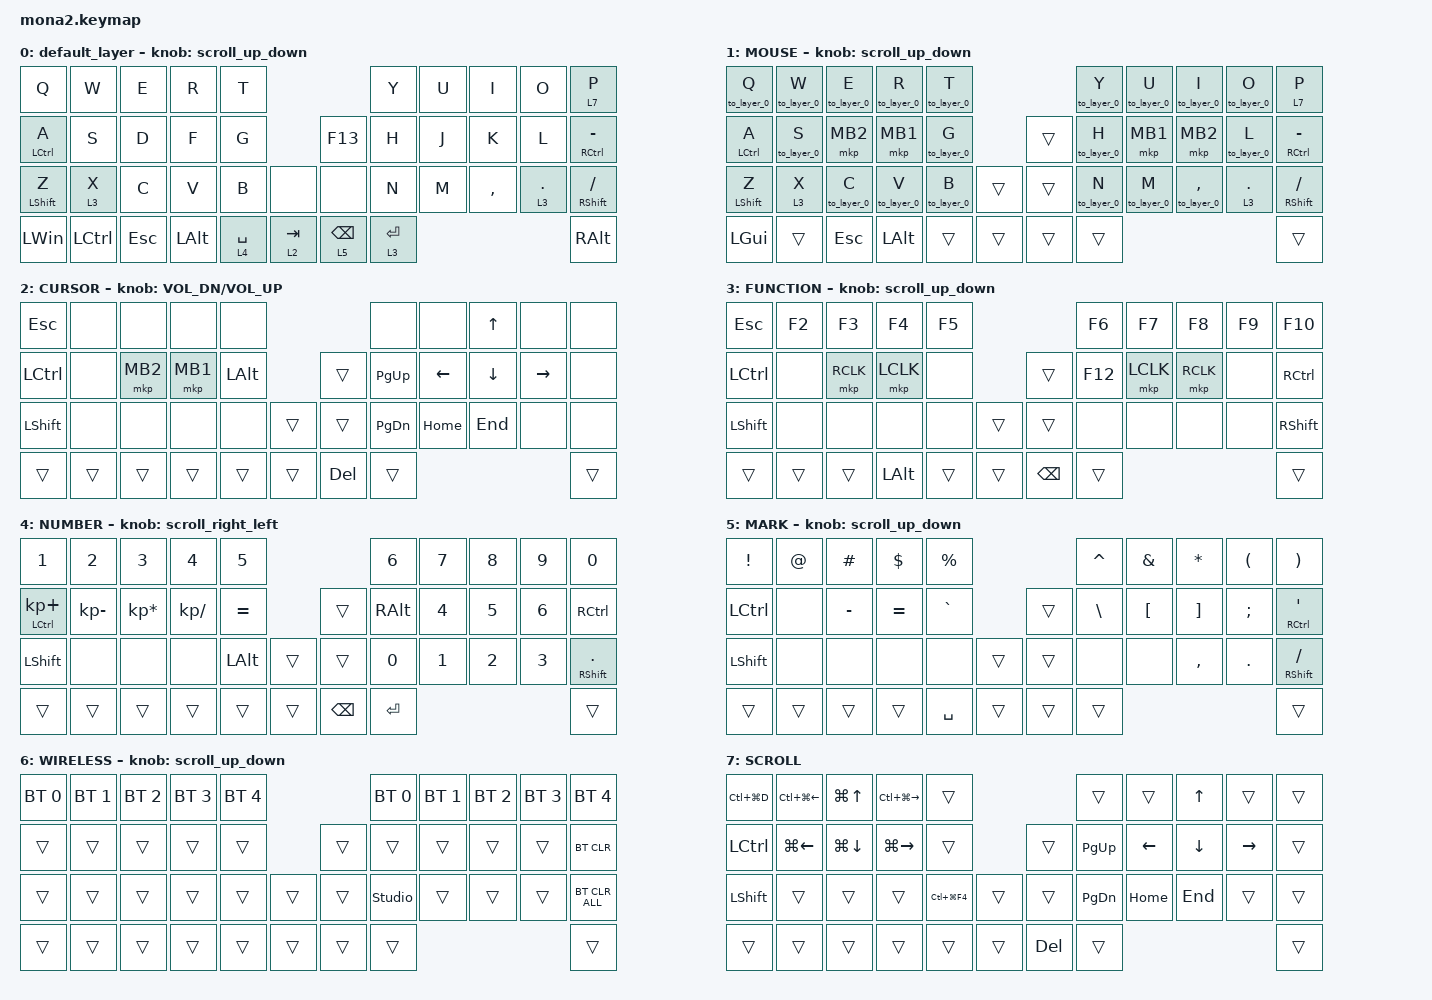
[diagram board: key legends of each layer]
#include <input/processors.dtsi>
#include <dt-bindings/zmk/input_transform.h>
#include <zephyr/dt-bindings/input/input-event-codes.h>
#include <behaviors.dtsi>
#include <dt-bindings/zmk/bt.h>
#include <dt-bindings/zmk/keys.h>
#include <dt-bindings/zmk/pointing.h>

#define ZMK_POINTING_DEFAULT_SCRL_VAL 100
#define MOUSE 5
#define SCROLL 6

&mt {
    flavor = "balanced";
    quick-tap-ms = <0>;
};

&lt {
    quick-tap-ms = <300>;
    flavor = "balanced";
};

/ {
    combos {
        compatible = "zmk,combos";

        lang1 {
            bindings = <&kp LANG1>;
            key-positions = <8 7>;
        };

        lang2 {
            bindings = <&kp LANG2>;
            key-positions = <1 2>;
        };

        bs {
            bindings = <&kp BACKSPACE>;
            key-positions = <8 9>;
        };
    };

    macros {
        to_layer_0: to_layer_0 {
            compatible = "zmk,behavior-macro-one-param";
            #binding-cells = <1>;
            bindings = <&to 0 &macro_param_1to1 &kp MACRO_PLACEHOLDER>;
            label = "TO_LAYER_0";
        };
    };

    behaviors {
        lt_to_layer_0: lt_to_layer_0 {
            compatible = "zmk,behavior-hold-tap";
            label = "LAYER_TAP_TO_0";
            bindings = <&mo>, <&to_layer_0>;

            #binding-cells = <2>;
            tapping-term-ms = <200>;
        };

        scroll_up_down: mouse_wheel_up_down {
            compatible = "zmk,behavior-sensor-rotate";
            #sensor-binding-cells = <0>;
            bindings = <&msc SCRL_DOWN>, <&msc SCRL_UP>;

            tap-ms = <20>;
        };

        scroll_right_left: mouse_wheel_right_left {
            compatible = "zmk,behavior-sensor-rotate";
            #sensor-binding-cells = <0>;
            bindings = <&msc SCRL_LEFT>, <&msc SCRL_RIGHT>;

            tap-ms = <20>;
        };
    };

    keymap {
        compatible = "zmk,keymap";

        default_layer {
            bindings = <
&kp Q               &kp W             &kp E       &kp R         &kp T                                                            &kp Y        &kp U  &kp I      &kp O         &lt 7 P
&mt LEFT_CONTROL A  &kp S             &kp D       &kp F         &kp G                                &kp F13                     &kp H        &kp J  &kp K      &kp L         &mt RIGHT_CONTROL MINUS
&mt LEFT_SHIFT Z    &lt 3 X           &kp C       &kp V         &kp B        &none                   &none                       &kp N        &kp M  &kp COMMA  &lt 3 PERIOD  &mt RIGHT_SHIFT SLASH
&kp LEFT_WIN        &kp LEFT_CONTROL  &kp ESCAPE  &kp LEFT_ALT  &lt 4 SPACE  &lt_to_layer_0 2 TAB    &lt_to_layer_0 5 BACKSPACE  &lt 3 ENTER                                  &kp RIGHT_ALT
            >;

            sensor-bindings = <&scroll_up_down>;
        };

        MOUSE {
            bindings = <
&to_layer_0 Q       &to_layer_0 W  &to_layer_0 E  &to_layer_0 R  &to_layer_0 T                    &to_layer_0 Y  &to_layer_0 U  &to_layer_0 I      &to_layer_0 O  &lt 7 P
&mt LEFT_CONTROL A  &to_layer_0 S  &mkp MB2       &mkp MB1       &to_layer_0 G            &trans  &to_layer_0 H  &mkp MB1       &mkp MB2           &to_layer_0 L  &mt RIGHT_CONTROL MINUS
&mt LEFT_SHIFT Z    &lt 3 X        &to_layer_0 C  &to_layer_0 V  &to_layer_0 B  &trans    &trans  &to_layer_0 N  &to_layer_0 M  &to_layer_0 COMMA  &lt 3 PERIOD   &mt RIGHT_SHIFT SLASH
&kp LEFT_GUI        &trans         &kp ESCAPE     &kp LEFT_ALT   &trans         &trans    &trans  &trans                                                          &trans
            >;

            sensor-bindings = <&scroll_up_down>;
        };

        CURSOR {
            bindings = <
&kp ESCAPE        &none   &none     &none     &none                            &none          &none           &kp UP_ARROW    &none            &none
&kp LEFT_CONTROL  &none   &mkp MB2  &mkp MB1  &kp LEFT_ALT            &trans   &kp PAGE_UP    &kp LEFT_ARROW  &kp DOWN_ARROW  &kp RIGHT_ARROW  &none
&kp LEFT_SHIFT    &none   &none     &none     &none         &trans    &trans   &kp PAGE_DOWN  &kp HOME        &kp END         &none            &none
&trans            &trans  &trans    &trans    &trans        &trans    &kp DEL  &trans                                                          &trans
            >;

            sensor-bindings = <&inc_dec_kp C_VOL_DN C_VOL_UP>;
        };

        FUNCTION {
            bindings = <
&kp ESCAPE        &kp F2  &kp F3     &kp F4        &kp F5                           &kp F6   &kp F7     &kp F8     &kp F9  &kp F10
&kp LEFT_CONTROL  &none   &mkp RCLK  &mkp LCLK     &none             &trans         &kp F12  &mkp LCLK  &mkp RCLK  &none   &kp RIGHT_CONTROL
&kp LEFT_SHIFT    &none   &none      &none         &none   &trans    &trans         &none    &none      &none      &none   &kp RIGHT_SHIFT
&trans            &trans  &trans     &kp LEFT_ALT  &trans  &trans    &kp BACKSPACE  &trans                                 &trans
            >;

            sensor-bindings = <&scroll_up_down>;
        };

        NUMBER {
            bindings = <
&kp NUMBER_1              &kp NUMBER_2  &kp NUMBER_3     &kp NUMBER_4  &kp NUMBER_5                           &kp NUMBER_6   &kp NUMBER_7  &kp NUMBER_8  &kp NUMBER_9  &kp NUMBER_0
&mt LEFT_CONTROL KP_PLUS  &kp KP_MINUS  &kp KP_ASTERISK  &kp KP_SLASH  &kp EQUAL               &trans         &kp RIGHT_ALT  &kp NUMBER_4  &kp NUMBER_5  &kp NUMBER_6  &kp RIGHT_CONTROL
&kp LEFT_SHIFT            &none         &none            &none         &kp LEFT_ALT  &trans    &trans         &kp NUMBER_0   &kp NUMBER_1  &kp NUMBER_2  &kp NUMBER_3  &mt RIGHT_SHIFT PERIOD
&trans                    &trans        &trans           &trans        &trans        &trans    &kp BACKSPACE  &kp ENTER                                                &trans
            >;

            sensor-bindings = <&scroll_right_left>;
        };

        MARK {
            bindings = <
&kp EXCLAMATION   &kp AT  &kp HASH   &kp DOLLAR  &kp PERCENT                    &kp CARET      &kp AMPERSAND     &kp ASTERISK       &kp LEFT_PARENTHESIS  &kp RIGHT_PARENTHESIS
&kp LEFT_CONTROL  &none   &kp MINUS  &kp EQUAL   &kp GRAVE              &trans  &kp BACKSLASH  &kp LEFT_BRACKET  &kp RIGHT_BRACKET  &kp SEMICOLON         &mt RIGHT_CONTROL SINGLE_QUOTE
&kp LEFT_SHIFT    &none   &none      &none       &none        &trans    &trans  &none          &none             &kp COMMA          &kp PERIOD            &mt RIGHT_SHIFT SLASH
&trans            &trans  &trans     &trans      &kp SPACE    &trans    &trans  &trans                                                                    &trans
            >;

            sensor-bindings = <&scroll_up_down>;
        };

        WIRELESS {
            bindings = <
&bt BT_SEL 0  &bt BT_SEL 1  &bt BT_SEL 2  &bt BT_SEL 3  &bt BT_SEL 4                    &bt BT_SEL 0    &bt BT_SEL 1  &bt BT_SEL 2  &bt BT_SEL 3  &bt BT_SEL 4
&trans        &trans        &trans        &trans        &trans                  &trans  &trans          &trans        &trans        &trans        &bt BT_CLR
&trans        &trans        &trans        &trans        &trans        &trans    &trans  &studio_unlock  &trans        &trans        &trans        &bt BT_CLR_ALL
&trans        &trans        &trans        &trans        &trans        &trans    &trans  &trans                                                    &trans
            >;

            sensor-bindings = <&scroll_up_down>;
        };

        SCROLL {
            bindings = <
&kp LC(LG(D))     &kp LC(LG(LEFT_ARROW))  &kp LG(UP_ARROW)    &kp LC(LG(RIGHT_ARROW))  &trans                                &trans         &trans          &kp UP_ARROW    &trans           &trans
&kp LEFT_CONTROL  &kp LG(LEFT_ARROW)      &kp LG(DOWN_ARROW)  &kp LG(RIGHT_ARROW)      &trans                    &trans      &kp PAGE_UP    &kp LEFT_ARROW  &kp DOWN_ARROW  &kp RIGHT_ARROW  &trans
&kp LEFT_SHIFT    &trans                  &trans              &trans                   &kp LC(LG(F4))  &trans    &trans      &kp PAGE_DOWN  &kp HOME        &kp END         &trans           &trans
&trans            &trans                  &trans              &trans                   &trans          &trans    &kp DELETE  &trans                                                          &trans
            >;
        };
    };

    conditional_layers {
        compatible = "zmk,conditional-layers";

        wireless {
            if-layers = <2 3>;
            then-layer = <6>;
        };
    };
};
